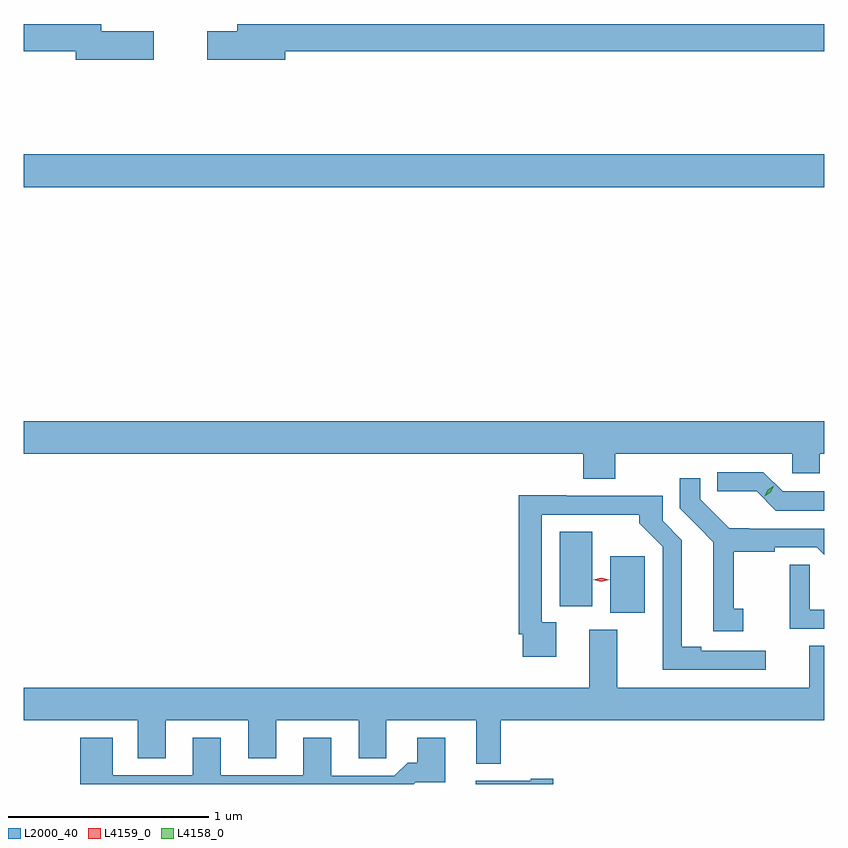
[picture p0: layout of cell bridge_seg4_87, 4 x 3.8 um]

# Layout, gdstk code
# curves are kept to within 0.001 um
import gdstk
lib = gdstk.Library(unit=1e-6, precision=1e-09)
def R(c, l, rs):  # rectangles x0, y0, x1, y1
    for r in rs: c.add(gdstk.rectangle(r[:2], r[2:], *l))
def P(c, l, *ps):  # polygons
    for p in ps: c.add(gdstk.Polygon(p, *l))
L2000_40 = (2000, 40)
L4158_0 = (4158, 0)
L4159_0 = (4159, 0)

bridge_seg4_87 = lib.new_cell('bridge_seg4_87')
R(bridge_seg4_87, L2000_40, [(470.378,782.705,470.551,782.989), (470.126,782.739,470.29,783.11), (467.448,784.832,471.448,784.996)])
P(bridge_seg4_87, L2000_40, [(468.097,785.612),(467.836,785.612),(467.836,785.648),(467.448,785.648),(467.448,785.512),(467.708,785.512),(467.708,785.47),(468.097,785.47)],
  [(468.754,785.512),(471.448,785.512),(471.448,785.648),(468.515,785.648),(468.515,785.612),(468.366,785.612),(468.366,785.47),(468.754,785.47)],
  [(470.403,783.5),(471.288,783.5),(471.288,783.402),(471.426,783.402),(471.426,783.5),(471.448,783.5),(471.448,783.664),(467.448,783.664),(467.448,783.5),(470.243,783.5),(470.243,783.376),(470.403,783.376)],
  [(471.448,783.312),(471.24,783.312),(471.144,783.408),(470.914,783.408),(470.914,783.313),(471.11,783.313),(471.207,783.216),(471.448,783.216)],
  [(471.043,782.726),(470.996,782.726),(470.996,783.01),(471.2,783.01),(471.2,783.033),(471.411,783.033),(471.448,782.996),(471.448,783.126),(471.073,783.126),(471.073,783.128),(470.974,783.128),(470.829,783.273),(470.829,783.379),(470.727,783.379),(470.727,783.229),(470.894,783.058),(470.894,782.613),(471.043,782.613)],
  [(471.157,782.517),(470.833,782.517),(470.833,782.537),(470.737,782.537),(470.736,783.069),(470.64,783.165),(470.64,783.291),(470.159,783.291),(470.159,783.293),(469.921,783.293),(469.921,782.599),(469.941,782.599),(469.941,782.487),(470.11,782.487),(470.11,782.659),(470.037,782.659),(470.037,783.195),(470.524,783.195),(470.524,783.152),(470.64,783.036),(470.64,782.421),(471.157,782.421)],
  [(471.448,782.721),(471.376,782.721),(471.376,782.945),(471.277,782.945),(471.277,782.625),(471.448,782.625)],
  [(471.448,782.54),(471.374,782.54),(471.374,782.332),(470.413,782.332),(470.413,782.62),(470.273,782.62),(470.273,782.332),(467.448,782.332),(467.448,782.168),(468.017,782.168),(468.017,781.978),(468.157,781.978),(468.157,782.168),(468.569,782.168),(468.569,781.978),(468.709,781.978),(468.709,782.168),(469.121,782.168),(469.121,781.978),(469.26,781.978),(469.26,782.168),(469.709,782.168),(469.709,781.952),(469.831,781.952),(469.831,782.168),(471.448,782.168)],
  [(469.406,781.859),(469.555,781.859),(469.555,782.08),(469.415,782.08),(469.415,781.957),(469.366,781.957),(469.299,781.89),(468.985,781.89),(468.985,782.08),(468.845,782.08),(468.845,781.893),(468.433,781.893),(468.433,782.08),(468.293,782.08),(468.293,781.893),(467.893,781.893),(467.893,782.08),(467.729,782.08),(467.729,781.85),(469.397,781.85)],
  [(470.095,781.875),(469.982,781.875),(469.982,781.867),(469.706,781.867),(469.706,781.85),(470.095,781.85)])
P(bridge_seg4_87, L4158_0, [(471.15,783.288),(471.15,783.288),(471.165,783.32),(471.195,783.34),(471.195,783.34),(471.195,783.34),(471.18,783.307),(471.151,783.288)])
P(bridge_seg4_87, L4159_0, [(470.334,782.86),(470.293,782.87),(470.293,782.87),(470.293,782.871),(470.334,782.88),(470.375,782.871),(470.375,782.87),(470.375,782.87)])

lib.write_gds('bridge_seg4_87.gds')
